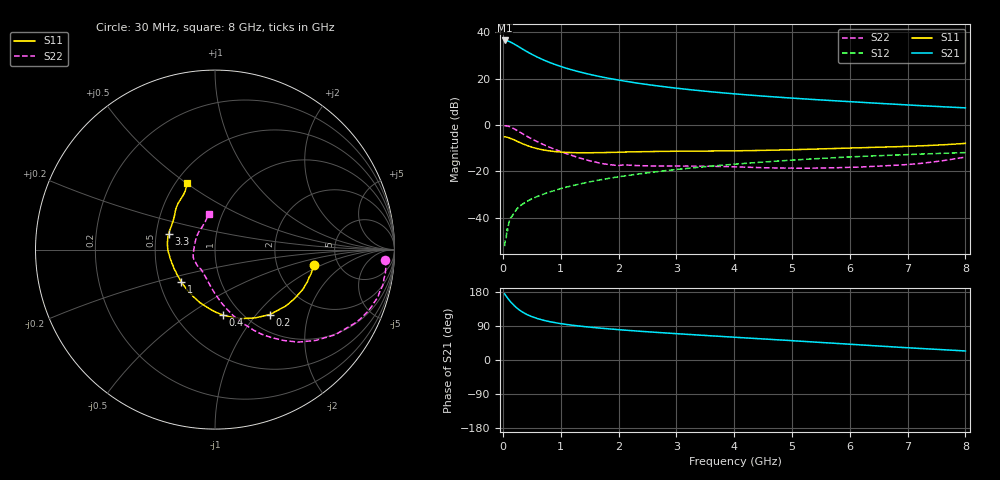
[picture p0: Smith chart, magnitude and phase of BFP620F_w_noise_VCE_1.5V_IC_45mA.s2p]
! Infineon Technologies  Discrete & RF Semiconductors
! BFP620F
! VCE =  1.5 V,  IC =  45 mA
! Common Emitter S-Parameters:  Dec 2014
# GHz  S  MA  R  50
!  f  S11  S21  S12  S22
! GHz  MAG  ANG  MAG  ANG  MAG  ANG  MAG  ANG
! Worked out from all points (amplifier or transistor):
!   95 points, 30 MHz to 8 GHz, reference 50 ohm
!   highest |S21| = 36.6 dB at 30 MHz (marker M1)
!   |S21| within 3 dB of that: start of sweep to 293.4 MHz
!   unconditionally stable (mu >= 1): 2.032 GHz to end of sweep
!   at 300 MHz: K = 0.47, MSG = 34.2 dB, |S12| = -34.9 dB
!   at 3.3 GHz: K = 1.03, MAG = 15.8 dB, |S12| = -18.5 dB
!   at 8 GHz: K = 1.05, MAG = 8.3 dB, |S12| = -11.9 dB
!   lowest NFmin = 1.45 dB at 450 MHz
!   S11 on the Smith chart (normalised r, x): 30 MHz: 3.28, -0.82; 200 MHz: 1.27, -1.18; 400 MHz: 0.83, -0.70; 1 GHz: 0.65, -0.25; 3.3 GHz: 0.58, +0.11; 8 GHz: 0.57, +0.50
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0.03  0.5558 -8.9  67.26 174.4  0.0024 101.6  0.9501 -3.4
0.07  0.545 -19.2  66.37 165.9  0.0056 88.0  0.9558 -12.1
0.12  0.5194 -32.1  62.85 155.9  0.0088 81.3  0.9171 -22.2
0.15  0.5023 -39.1  60.48 150.7  0.0103 78.6  0.8831 -27.5
0.2  0.4737 -49.8  55.85 142.9  0.0128 71.9  0.8199 -35.4
0.25  0.4419 -59.4  51.36 136.1  0.0158 72.6  0.7551 -42.1
0.3  0.4142 -68.0  47.07 130.4  0.0179 68.6  0.6934 -48.0
0.35  0.3892 -75.9  43.08 125.5  0.0198 68.6  0.6361 -52.8
0.4  0.3673 -83.2  39.62 121.2  0.0217 67.2  0.5848 -57.1
0.5  0.3318 -95.1  33.74 114.5  0.0253 67.3  0.5006 -64.2
0.6  0.3071 -105.9  29.18 109.2  0.0286 66.8  0.4319 -70.0
0.7  0.2884 -114.7  25.59 105.0  0.0319 66.6  0.3783 -74.9
0.8  0.2763 -122.6  22.71 101.5  0.0354 66.9  0.3335 -79.2
1  0.2606 -135.8  18.46 96.0  0.0422 67.0  0.2665 -86.9
1.4  0.2516 -155.1  13.33 88.3  0.0555 66.5  0.1826 -102.3
1.9  0.2554 -171.6  9.846 81.4  0.0725 64.7  0.1363 -123.6
2.7  0.2682 171.1  6.943 72.5  0.0991 60.9  0.1295 -147.2
3.3  0.273 161.4  5.695 66.7  0.119 57.5  0.129 -157.0
4.1  0.2774 150.3  4.61 59.2  0.145 52.6  0.1235 -168.5
5.4  0.3016 137.7  3.545 47.2  0.1863 43.4  0.117 163.8
6.7  0.3364 125.6  2.847 35.1  0.2219 33.6  0.1329 132.9
8  0.4006 113.1  2.346 23.8  0.2533 24.1  0.2022 99.7
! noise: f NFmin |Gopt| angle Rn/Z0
0.45  1.45  0.18  -172  0.16
0.9  1.48  0.18  -172  0.14
1.5  1.49  0.23  -153  0.1
1.8  1.5  0.23  -152  0.1
1.9  1.5  0.23  -151  0.11
2.4  1.52  0.24  213  0.12
3.5  1.58  0.24  220  0.15
5.5  1.72  0.29  248  0.19
6  1.76  0.29  261  0.24
